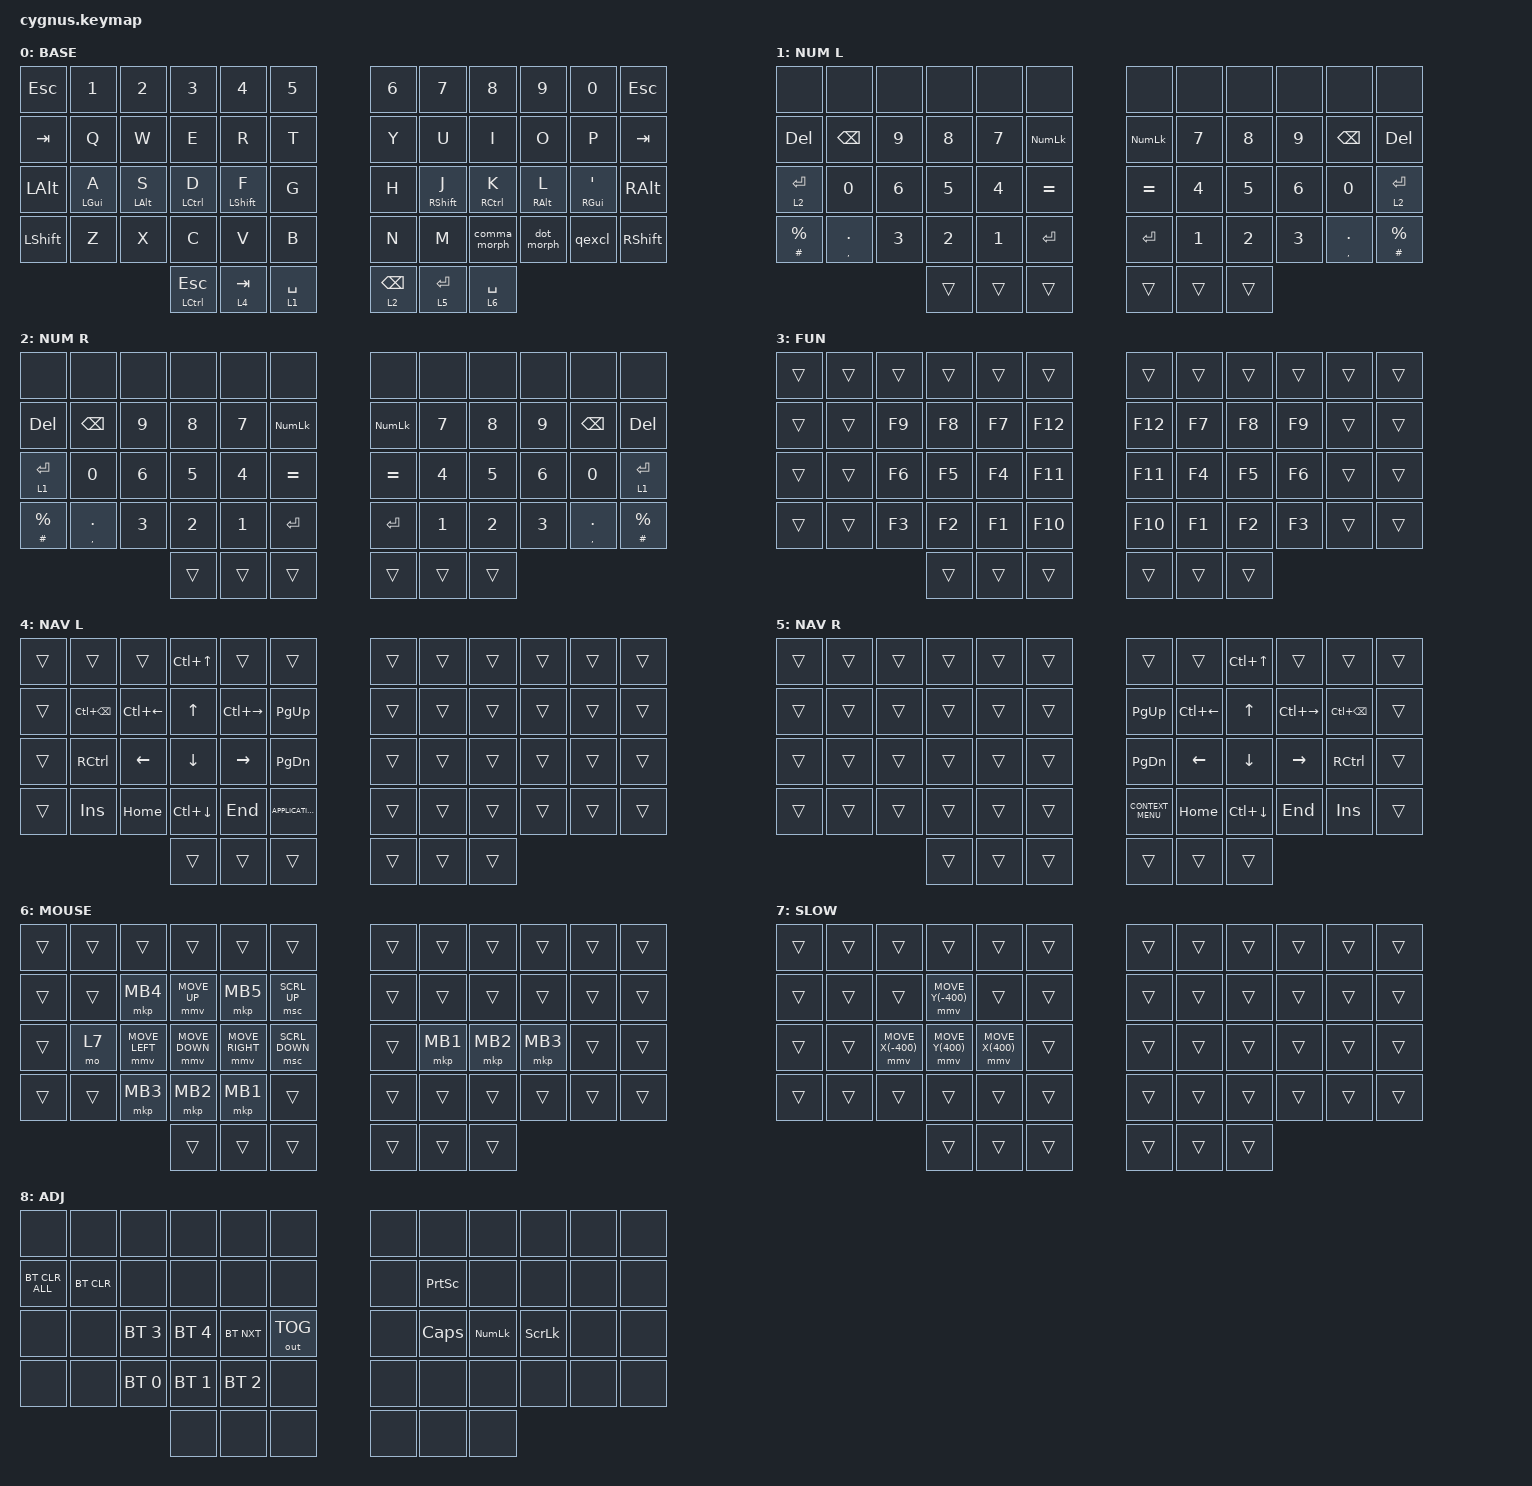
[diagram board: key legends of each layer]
/*
 * Copyright (c) 2020 The ZMK Contributors
 *
 * SPDX-License-Identifier: MIT
 */

#include <dt-bindings/zmk/mouse.h>

#define ZMK_POINTING_DEFAULT_MOVE_VAL 1000  // default: 600
#define ZMK_POINTING_DEFAULT_SCRL_VAL 20    // default: 10

#include <behaviors.dtsi>
#include <dt-bindings/zmk/bt.h>
#include <dt-bindings/zmk/keys.h>
#include <dt-bindings/zmk/outputs.h>
#include <dt-bindings/zmk/pointing.h>

// #include <input/processors.dtsi>

/ {
    behaviors {
        hml: homerow_mods_left {
            compatible = "zmk,behavior-hold-tap";
            label = "HOMEROW_MODS_LEFT";
            bindings = <&kp>, <&kp>;

            #binding-cells = <2>;
            tapping-term-ms = <150>;
            flavor = "tap-preferred";
            hold-trigger-key-positions = <6 7 8 9 10 11 18 19 20 21 22 23 30 31 32 33 34 35 42 43 44 45 46 47 51 52 53 48 49 50>;
        };

        hmr: homerow_mods_right {
            compatible = "zmk,behavior-hold-tap";
            label = "HOMEROW_MODS_RIGHT";
            bindings = <&kp>, <&kp>;

            #binding-cells = <2>;
            tapping-term-ms = <150>;
            flavor = "tap-preferred";
            hold-trigger-key-positions = <0 1 2 3 4 5 12 13 14 15 16 17 24 25 26 27 28 29 36 37 38 39 40 41 48 49 50 51 52 53>;
        };

        layer_tap_quick: layer_tap_quick {
            compatible = "zmk,behavior-hold-tap";
            label = "LAYER_TAP_QUICK";
            bindings = <&mo>, <&kp>;

            #binding-cells = <2>;
            tapping-term-ms = <200>;
            flavor = "tap-preferred";
            quick-tap-ms = <200>;
        };

        qexcl: qexcl {
            compatible = "zmk,behavior-mod-morph";
            label = "QEXCL";
            bindings = <&kp QUESTION>, <&kp EXCL>;

            #binding-cells = <0>;
            mods = <(MOD_LSFT|MOD_RSFT)>;
        };

        comma_morph: comma_morph {
            compatible = "zmk,behavior-mod-morph";
            label = "COMMA_MORPH";
            bindings = <&kp COMMA>, <&kp SEMI>;

            #binding-cells = <0>;
            mods = <(MOD_LSFT|MOD_RSFT)>;
        };

        dot_morph: dot_morph {
            compatible = "zmk,behavior-mod-morph";
            label = "DOT_MORPH";
            bindings = <&kp DOT>, <&kp COLON>;

            #binding-cells = <0>;
            mods = <(MOD_LSFT|MOD_RSFT)>;
        };

        lpar_morph: lpar_morph {
            compatible = "zmk,behavior-mod-morph";
            label = "LPAR_MORPH";
            bindings = <&kp LEFT_PARENTHESIS>, <&kp LT>;

            #binding-cells = <0>;
            mods = <(MOD_LSFT|MOD_RSFT)>;
        };

        rpar_morph: rpar_morph {
            compatible = "zmk,behavior-mod-morph";
            label = "RPAR_MORPH";
            bindings = <&kp RIGHT_PARENTHESIS>, <&kp GT>;

            #binding-cells = <0>;
            mods = <(MOD_LSFT|MOD_RSFT)>;
        };

        homerow_gui_left: homerow_gui_left {
            compatible = "zmk,behavior-hold-tap";
            label = "HOMEROW_GUI_LEFT";
            bindings = <&kp>, <&kp>;

            #binding-cells = <2>;
            tapping-term-ms = <280>;
            require-prior-idle-ms = <150>;
            flavor = "tap-preferred";
            hold-trigger-key-positions = <6 7 8 9 10 11 18 19 20 21 22 23 30 31 32 33 34 35 42 43 44 45 46 47 51 52 53>;
        };

        homerow_gui_right: homerow_gui_right {
            compatible = "zmk,behavior-hold-tap";
            label = "HOMEROW_GUI_RIGHT";
            bindings = <&kp>, <&kp>;

            #binding-cells = <2>;
            tapping-term-ms = <280>;
            require-prior-idle-ms = <150>;
            flavor = "tap-preferred";
            hold-trigger-key-positions = <0 1 2 3 4 5 12 13 14 15 16 17 24 25 26 27 28 29 36 37 38 39 40 41 48 49 50>;
        };
    };

    combos {
        compatible = "zmk,combos";

        left-num-plus {
            bindings = <&kp PLUS>;
            key-positions = <16 28>;
            layers = <1>;
        };

        left-num-minus {
            bindings = <&kp MINUS>;
            key-positions = <28 40>;
            layers = <1>;
        };

        left-num-multiply {
            bindings = <&kp STAR>;
            key-positions = <15 27>;
            layers = <1>;
        };

        left-num-divide {
            bindings = <&kp SLASH>;
            key-positions = <27 39>;
            layers = <1>;
        };

        left-num-dollar {
            bindings = <&kp DOLLAR>;
            key-positions = <17 29>;
            layers = <1>;
        };

        left-num-underscore {
            bindings = <&kp UNDER>;
            key-positions = <29 41>;
            layers = <1>;
        };

        right-num-dollar {
            bindings = <&kp DOLLAR>;
            key-positions = <18 30>;
            layers = <1>;
        };

        right-num-underscore {
            bindings = <&kp UNDER>;
            key-positions = <30 42>;
            layers = <1>;
        };

        dollar {
            bindings = <&kp DOLLAR>;
            key-positions = <16 28>;
        };

        percent {
            bindings = <&kp PERCENT>;
            key-positions = <17 29>;
        };

        underscore {
            bindings = <&kp UNDER>;
            key-positions = <30 42>;
            layers = <0>;
        };

        caret {
            bindings = <&kp CARET>;
            key-positions = <18 30>;
        };

        tilde {
            bindings = <&kp TILDE>;
            key-positions = <41 29>;
        };

        equal {
            bindings = <&kp EQUAL>;
            key-positions = <40 28>;
        };

        backslash {
            bindings = <&kp BACKSLASH>;
            key-positions = <39 27>;
        };

        pound {
            bindings = <&kp POUND>;
            key-positions = <27 15>;
        };

        at {
            bindings = <&kp AT>;
            key-positions = <14 26>;
        };

        grave {
            bindings = <&kp GRAVE>;
            key-positions = <26 38>;
        };

        plus {
            bindings = <&kp PLUS>;
            key-positions = <31 19>;
        };

        minus {
            bindings = <&kp MINUS>;
            key-positions = <31 43>;
        };

        star {
            bindings = <&kp STAR>;
            key-positions = <32 20>;
        };

        forwardslash {
            bindings = <&kp SLASH>;
            key-positions = <32 44>;
        };

        ampersand {
            bindings = <&kp AMPS>;
            key-positions = <21 33>;
        };

        pipe {
            bindings = <&kp PIPE>;
            key-positions = <45 33>;
        };

        left_parenthesis {
            bindings = <&lpar_morph>;
            key-positions = <32 31>;
        };

        right_parenthesis {
            bindings = <&rpar_morph>;
            key-positions = <33 32>;
        };

        left_bracket {
            bindings = <&kp LEFT_BRACKET>;
            key-positions = <44 43>;
        };

        right_bracket {
            bindings = <&kp RIGHT_BRACKET>;
            key-positions = <44 45>;
        };

        ctrl-alt-del {
            bindings = <&kp LC(LA(DEL))>;
            key-positions = <14 15 16>;
        };

        ctrl-shift-s {
            bindings = <&kp LC(LS(S))>;
            key-positions = <16 15>;
            require-prior-idle-ms = <280>;
        };

        shift-win-s {
            bindings = <&kp LS(LG(S))>;
            key-positions = <15 14>;
            require-prior-idle-ms = <280>;
        };

        left-enter {
            bindings = <&kp ENTER>;
            key-positions = <41 50>;
        };

        right-enter {
            bindings = <&kp ENTER>;
            key-positions = <42 51>;
        };

        right-calc {
            bindings = <&kp C_AL_CALC>;
            key-positions = <31 32 33>;
            layers = <1>;
        };

        left-calc {
            bindings = <&kp C_AL_CALC>;
            key-positions = <26 27 28>;
            layers = <1>;
        };

        left-lock {
            bindings = <&kp LG(L)>;
            key-positions = <40 39 38 37>;
        };

        right-lock {
            bindings = <&kp RG(L)>;
            key-positions = <43 44 45 46>;
        };
    };

    keymap {
        compatible = "zmk,keymap";

        default_layer {
            display-name = "BASE";
            bindings = <
&kp ESCAPE    &kp N1                        &kp N2           &kp N3            &kp N4             &kp N5         &kp N6                        &kp N7              &kp N8        &kp N9            &kp N0                             &kp ESCAPE
&kp TAB       &kp Q                         &kp W            &kp E             &kp R              &kp T          &kp Y                         &kp U               &kp I         &kp O             &kp P                              &kp TAB
&kp LEFT_ALT  &homerow_gui_left LEFT_GUI A  &hml LEFT_ALT S  &hml LCTRL D      &hml LEFT_SHIFT F  &kp G          &kp H                         &hmr RIGHT_SHIFT J  &hmr RCTRL K  &hmr RIGHT_ALT L  &homerow_gui_right RIGHT_GUI APOS  &kp RIGHT_ALT
&kp LSHFT     &kp Z                         &kp X            &kp C             &kp V              &kp B          &kp N                         &kp M               &comma_morph  &dot_morph        &qexcl                             &kp RIGHT_SHIFT
                                                             &mt LCTRL ESCAPE  &lt 4 TAB          &lt 1 SPACE    &layer_tap_quick 2 BACKSPACE  &lt 5 ENTER         &lt 6 SPACE
            >;
        };

        num_layer_left {
            display-name = "NUM L";
            bindings = <
&none              &none             &none   &none   &none   &none             &none           &none   &none   &none   &none             &none
&kp DELETE         &kp BACKSPACE     &kp N9  &kp N8  &kp N7  &kp KP_NUMLOCK    &kp KP_NUMLOCK  &kp N7  &kp N8  &kp N9  &kp BACKSPACE     &kp DELETE
&lt 2 ENTER        &kp N0            &kp N6  &kp N5  &kp N4  &kp EQUAL         &kp EQUAL       &kp N4  &kp N5  &kp N6  &kp N0            &lt 2 ENTER
&mt POUND PERCENT  &mt COMMA PERIOD  &kp N3  &kp N2  &kp N1  &kp ENTER         &kp ENTER       &kp N1  &kp N2  &kp N3  &mt COMMA PERIOD  &mt HASH PERCENT
                                             &trans  &trans  &trans            &trans          &trans  &trans
            >;
        };

        num_layer_right {
            display-name = "NUM R";
            bindings = <
&none              &none             &none   &none   &none   &none             &none           &none   &none   &none   &none             &none
&kp DELETE         &kp BACKSPACE     &kp N9  &kp N8  &kp N7  &kp KP_NUMLOCK    &kp KP_NUMLOCK  &kp N7  &kp N8  &kp N9  &kp BACKSPACE     &kp DELETE
&lt 1 ENTER        &kp N0            &kp N6  &kp N5  &kp N4  &kp EQUAL         &kp EQUAL       &kp N4  &kp N5  &kp N6  &kp N0            &lt 1 ENTER
&mt POUND PERCENT  &mt COMMA PERIOD  &kp N3  &kp N2  &kp N1  &kp ENTER         &kp ENTER       &kp N1  &kp N2  &kp N3  &mt COMMA PERIOD  &mt HASH PERCENT
                                             &trans  &trans  &trans            &trans          &trans  &trans
            >;
        };

        f_layer {
            display-name = "FUN";
            bindings = <
&trans  &trans  &trans  &trans  &trans  &trans     &trans   &trans  &trans  &trans  &trans  &trans
&trans  &trans  &kp F9  &kp F8  &kp F7  &kp F12    &kp F12  &kp F7  &kp F8  &kp F9  &trans  &trans
&trans  &trans  &kp F6  &kp F5  &kp F4  &kp F11    &kp F11  &kp F4  &kp F5  &kp F6  &trans  &trans
&trans  &trans  &kp F3  &kp F2  &kp F1  &kp F10    &kp F10  &kp F1  &kp F2  &kp F3  &trans  &trans
                        &trans  &trans  &trans     &trans   &trans  &trans
            >;
        };

        nav_layer_left {
            display-name = "NAV L";
            bindings = <
&trans  &trans        &trans        &kp LC(UP)    &trans         &trans               &trans  &trans  &trans  &trans  &trans  &trans
&trans  &kp LC(BSPC)  &kp LC(LEFT)  &kp UP        &kp LC(RIGHT)  &kp PG_UP            &trans  &trans  &trans  &trans  &trans  &trans
&trans  &kp RCTRL     &kp LEFT      &kp DOWN      &kp RIGHT      &kp PG_DN            &trans  &trans  &trans  &trans  &trans  &trans
&trans  &kp INS       &kp HOME      &kp LC(DOWN)  &kp END        &kp K_APPLICATION    &trans  &trans  &trans  &trans  &trans  &trans
                                    &trans        &trans         &trans               &trans  &trans  &trans
            >;
        };

        nav_layer_right {
            display-name = "NAV R";
            bindings = <
&trans  &trans  &trans  &trans  &trans  &trans    &trans              &trans        &kp LC(UP_ARROW)  &trans         &trans        &trans
&trans  &trans  &trans  &trans  &trans  &trans    &kp PG_UP           &kp LC(LEFT)  &kp UP            &kp LC(RIGHT)  &kp LC(BSPC)  &trans
&trans  &trans  &trans  &trans  &trans  &trans    &kp PAGE_DOWN       &kp LEFT      &kp DOWN          &kp RIGHT      &kp RCTRL     &trans
&trans  &trans  &trans  &trans  &trans  &trans    &kp K_CONTEXT_MENU  &kp HOME      &kp LC(DOWN)      &kp END        &kp INSERT    &trans
                        &trans  &trans  &trans    &trans              &trans        &trans
            >;
        };

        mouse_layer {
            display-name = "MOUSE";
            bindings = <
&trans  &trans  &trans          &trans          &trans           &trans            &trans  &trans    &trans    &trans    &trans  &trans
&trans  &trans  &mkp MB4        &mmv MOVE_UP    &mkp MB5         &msc SCRL_UP      &trans  &trans    &trans    &trans    &trans  &trans
&trans  &mo 7   &mmv MOVE_LEFT  &mmv MOVE_DOWN  &mmv MOVE_RIGHT  &msc SCRL_DOWN    &trans  &mkp MB1  &mkp MB2  &mkp MB3  &trans  &trans
&trans  &trans  &mkp MB3        &mkp MB2        &mkp MB1         &trans            &trans  &trans    &trans    &trans    &trans  &trans
                                &trans          &trans           &trans            &trans  &trans    &trans
            >;
        };

        mouse_slow_layer {
            display-name = "SLOW";
            bindings = <
&trans  &trans  &trans             &trans             &trans            &trans    &trans  &trans  &trans  &trans  &trans  &trans
&trans  &trans  &trans             &mmv MOVE_Y(-400)  &trans            &trans    &trans  &trans  &trans  &trans  &trans  &trans
&trans  &trans  &mmv MOVE_X(-400)  &mmv MOVE_Y(400)   &mmv MOVE_X(400)  &trans    &trans  &trans  &trans  &trans  &trans  &trans
&trans  &trans  &trans             &trans             &trans            &trans    &trans  &trans  &trans  &trans  &trans  &trans
                                   &trans             &trans            &trans    &trans  &trans  &trans
            >;
        };

        adjust_layer {
            display-name = "ADJ";

            // -----------------------------------------------------------------------------------------
            // |      |     |     |     |     |     |   |     |      |     |     |     |     |
            // |  TAB |  1  |  2  |  3  |  4  |  5  |   |  6  |  7  |  8  |  9  |  0  | BKSP |
            // | BTCLR| BT1 | BT2 | BT3 | BT4 | BT5 |   | LFT | DWN |  UP | RGT |     |      |
            // | SHFT |     |     |     |     |     |   |     |     |     |     |     |      |
            //                    | GUI |     | SPC |   | ENT |     | ALT |

            bindings = <
&none           &none       &none         &none         &none         &none           &none  &none            &none           &none           &none  &none
&bt BT_CLR_ALL  &bt BT_CLR  &none         &none         &none         &none           &none  &kp PRINTSCREEN  &none           &none           &none  &none
&none           &none       &bt BT_SEL 3  &bt BT_SEL 4  &bt BT_NXT    &out OUT_TOG    &none  &kp CLCK         &kp KP_NUMLOCK  &kp SCROLLLOCK  &none  &none
&none           &none       &bt BT_SEL 0  &bt BT_SEL 1  &bt BT_SEL 2  &none           &none  &none            &none           &none           &none  &none
                                          &none         &none         &none           &none  &none            &none
            >;
        };
    };

    conditional_layers {
        compatible = "zmk,conditional-layers";

        nav_adj {
            if-layers = <4 5>;
            then-layer = <8>;
        };

        f_layer {
            if-layers = <1 2>;
            then-layer = <3>;
        };
    };
};
